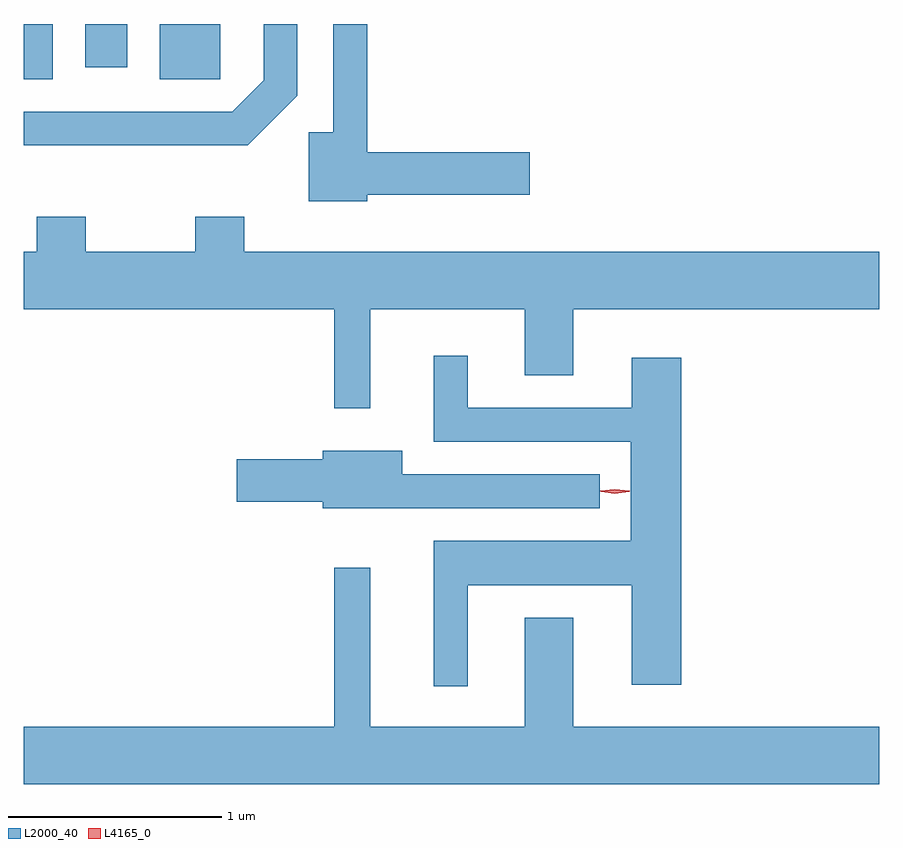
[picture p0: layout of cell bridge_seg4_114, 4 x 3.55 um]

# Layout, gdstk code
import gdstk
lib = gdstk.Library(unit=1e-6, precision=1e-09)
def R(c, l, rs):  # rectangles x0, y0, x1, y1
    for r in rs: c.add(gdstk.rectangle(r[:2], r[2:], *l))
def P(c, l, *ps):  # polygons
    for p in ps: c.add(gdstk.Polygon(p, *l))
L2000_40 = (2000, 40)
L4165_0 = (4165, 0)

bridge_seg4_114 = lib.new_cell('bridge_seg4_114')
R(bridge_seg4_114, L2000_40, [(878.419,1371.291,878.554,1371.549), (879.056,1371.291,879.339,1371.549), (878.706,1371.346,878.904,1371.549)])
P(bridge_seg4_114, L2000_40, [(880.024,1370.751),(880.784,1370.751),(880.784,1370.949),(880.024,1370.949),(880.024,1371.549),(879.866,1371.549),(879.866,1371.044),(879.751,1371.044),(879.751,1370.721),(880.024,1370.721)],
  [(879.699,1371.214),(879.699,1371.549),(879.541,1371.549),(879.541,1371.287),(879.394,1371.139),(878.419,1371.139),(878.419,1370.981),(879.467,1370.981)],
  [(880.039,1370.216),(880.761,1370.216),(880.761,1369.906),(880.989,1369.906),(880.989,1370.216),(882.419,1370.216),(882.419,1370.484),(879.449,1370.484),(879.449,1370.649),(879.221,1370.649),(879.221,1370.484),(878.709,1370.484),(878.709,1370.649),(878.481,1370.649),(878.481,1370.484),(878.419,1370.484),(878.419,1370.216),(879.871,1370.216),(879.871,1369.753),(880.039,1369.753)],
  [(880.494,1368.926),(881.261,1368.926),(881.261,1368.461),(881.494,1368.461),(881.494,1369.989),(881.261,1369.989),(881.261,1369.754),(880.494,1369.754),(880.494,1369.998),(880.336,1369.998),(880.336,1369.596),(881.256,1369.596),(881.256,1369.134),(880.336,1369.134),(880.336,1368.453),(880.494,1368.453)],
  [(881.113,1369.444),(880.189,1369.444),(880.189,1369.554),(879.816,1369.554),(879.816,1369.514),(879.416,1369.514),(879.416,1369.316),(879.816,1369.316),(879.816,1369.286),(881.113,1369.286)],
  [(882.419,1368.264),(880.989,1368.264),(880.989,1368.774),(880.761,1368.774),(880.761,1368.264),(880.039,1368.264),(880.039,1369.008),(879.871,1369.008),(879.871,1368.264),(878.419,1368.264),(878.419,1367.996),(882.419,1367.996)])
P(bridge_seg4_114, L4165_0, [(881.183,1369.355),(881.114,1369.364),(881.114,1369.365),(881.114,1369.366),(881.183,1369.375),(881.252,1369.366),(881.252,1369.365),(881.252,1369.364)],
  [(881.183,1369.353),(881.118,1369.362),(881.117,1369.363),(881.118,1369.363),(881.183,1369.373),(881.249,1369.363),(881.249,1369.363),(881.249,1369.362)])

lib.write_gds('bridge_seg4_114.gds')
